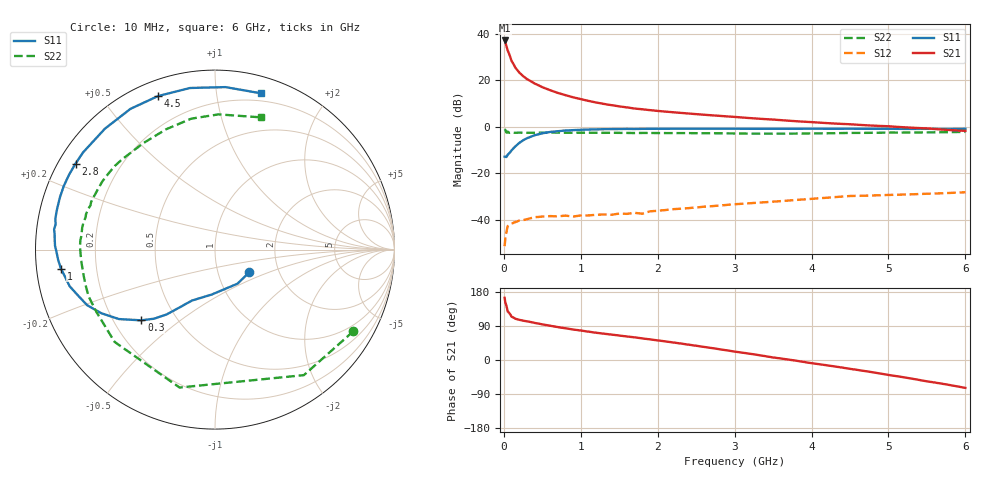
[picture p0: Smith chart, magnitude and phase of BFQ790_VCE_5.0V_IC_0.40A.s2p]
! Infineon Technologies  Discrete & RF Semiconductors
! BFQ790
! VCE =  5.0 V,  IC = 0.40 A
! Common Emitter S-Parameters:  May 2015
# GHz  S  MA  R  50
!  f  S11  S21  S12  S22
! GHz  MAG  ANG  MAG  ANG  MAG  ANG  MAG  ANG
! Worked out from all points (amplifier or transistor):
!   77 points, 10 MHz to 6 GHz, reference 50 ohm
!   highest |S21| = 37.2 dB at 10 MHz (marker M1)
!   |S21| within 3 dB of that: start of sweep to 38.55 MHz
!   unconditionally stable (mu >= 1): 147 MHz to end of sweep
!   at 130 MHz: K = 0.92, MSG = 34.0 dB, |S12| = -41.2 dB
!   at 2.2 GHz: K = 1.37, MAG = 17.3 dB, |S12| = -35.4 dB
!   at 6 GHz: K = 1.15, MAG = 10.9 dB, |S12| = -28.2 dB
!   S11 on the Smith chart (normalised r, x): 10 MHz: 1.41, -0.38; 300 MHz: 0.32, -0.37; 1 GHz: 0.07, -0.06; 2.8 GHz: 0.05, +0.28; 4.5 GHz: 0.07, +0.69; 6 GHz: 0.13, +1.33
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0.01  0.2286 -33.9  72.5 164.1  0.0027 66.8  0.895 -30.6
0.02  0.2275 -56.6  65.66 151.3  0.0041 62.1  0.857 -54.7
0.05  0.2513 -94.3  44.23 127.9  0.0073 33.1  0.7934 -104.4
0.1  0.3109 -114.2  26.3 114.2  0.0083 25.0  0.7599 -137.4
0.15  0.38 -121.7  18.76 108.8  0.0089 21.5  0.7464 -152.1
0.2  0.4503 -126.7  14.83 106.1  0.0096 23.5  0.7512 -159.8
0.25  0.5132 -131.4  12.39 103.9  0.0098 20.9  0.7476 -164.9
0.3  0.5684 -136.1  10.7 102.0  0.0103 16.3  0.7461 -168.8
0.4  0.6601 -144.1  8.568 97.9  0.0114 18.1  0.7471 -174.1
0.5  0.7262 -150.8  7.159 94.0  0.0117 14.6  0.7493 -178.0
0.6  0.7768 -156.5  6.173 90.5  0.012 15.2  0.7524 178.8
0.8  0.8348 -165.8  4.823 83.7  0.0123 12.4  0.7488 174.3
1  0.8651 -173.0  3.959 77.8  0.0124 13.6  0.7499 170.6
1.1  0.8762 -176.4  3.625 74.8  0.0124 17.4  0.7486 168.8
1.5  0.8973 174.6  2.762 64.6  0.0136 17.6  0.7426 163.0
2.1  0.9096 163.4  2.132 49.1  0.0162 17.6  0.7346 154.2
2.8  0.9128 148.3  1.729 28.5  0.0202 11.3  0.7272 140.1
3.1  0.9098 141.4  1.59 19.4  0.0221 9.4  0.718 133.6
4.1  0.9118 118.9  1.234 -11.1  0.029 -5.6  0.7247 109.7
4.5  0.9125 110.4  1.138 -23.3  0.0325 -13.1  0.7414 100.3
5.1  0.9069 96.3  1.004 -42.5  0.0345 -26.5  0.753 86.4
6  0.9079 73.5  0.82 -73.6  0.0391 -47.0  0.7803 70.8
